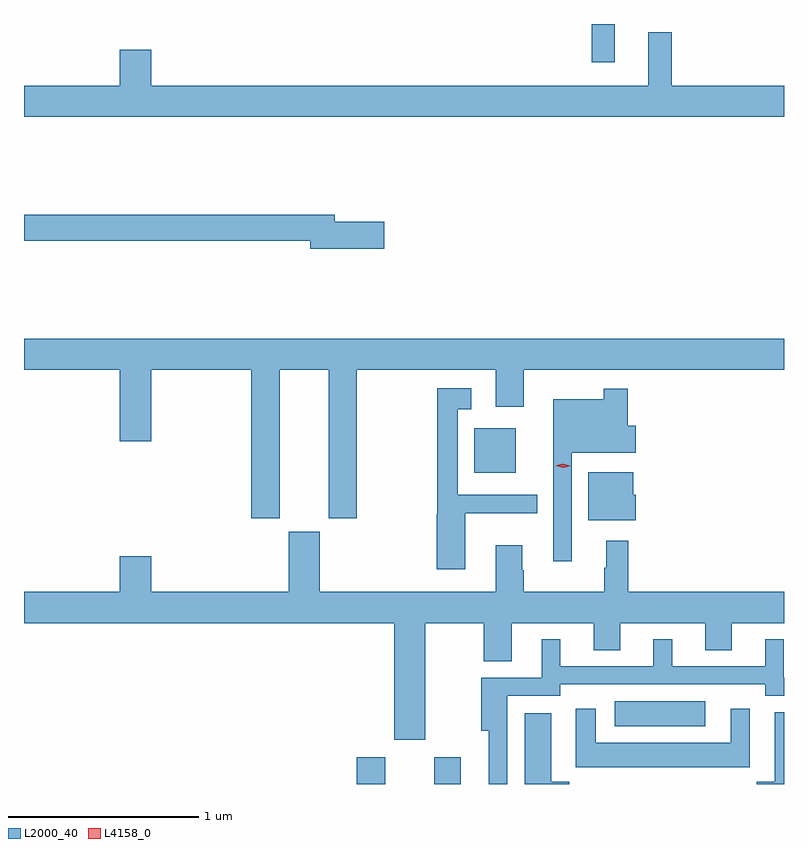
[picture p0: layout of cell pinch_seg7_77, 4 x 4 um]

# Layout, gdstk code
import gdstk
lib = gdstk.Library(unit=1e-6, precision=1e-09)
def R(c, l, rs):  # rectangles x0, y0, x1, y1
    for r in rs: c.add(gdstk.rectangle(r[:2], r[2:], *l))
def P(c, l, *ps):  # polygons
    for p in ps: c.add(gdstk.Polygon(p, *l))
L2000_40 = (2000, 40)
L4158_0 = (4158, 0)

pinch_seg7_77 = lib.new_cell('pinch_seg7_77')
R(pinch_seg7_77, L2000_40, [(921.497,1069.033,921.649,1069.174), (921.905,1069.033,922.045,1069.174), (922.857,1069.337,923.332,1069.468), (922.118,1070.672,922.336,1070.905), (922.734,1072.833,922.855,1073.033)])
P(pinch_seg7_77, L2000_40, [(923.033,1072.99),(923.033,1072.708),(920.416,1072.708),(920.416,1072.897),(920.252,1072.897),(920.252,1072.708),(919.747,1072.708),(919.747,1072.544),(923.747,1072.544),(923.747,1072.708),(923.155,1072.708),(923.155,1072.99)],
  [(921.643,1071.992),(921.382,1071.992),(921.382,1072.028),(919.747,1072.028),(919.747,1071.892),(921.254,1071.892),(921.254,1071.85),(921.643,1071.85)],
  [(921.094,1071.212),(921.35,1071.212),(921.35,1070.433),(921.498,1070.433),(921.498,1071.212),(922.229,1071.212),(922.229,1071.018),(922.378,1071.018),(922.378,1071.212),(923.747,1071.212),(923.747,1071.376),(919.747,1071.376),(919.747,1071.212),(920.252,1071.212),(920.252,1070.838),(920.416,1070.838),(920.416,1071.212),(920.942,1071.212),(920.942,1070.433),(921.094,1070.433)],
  [(922.069,1070.459),(922.448,1070.459),(922.448,1070.556),(922.029,1070.556),(922.029,1071.005),(922.102,1071.005),(922.102,1071.115),(921.921,1071.115),(921.921,1070.453),(921.92,1070.453),(921.92,1070.163),(922.069,1070.163)],
  [(922.629,1070.777),(922.966,1070.777),(922.966,1070.919),(922.925,1070.919),(922.925,1071.112),(922.797,1071.112),(922.797,1071.058),(922.532,1071.058),(922.532,1070.681),(922.533,1070.681),(922.533,1070.205),(922.629,1070.205)],
  [(922.966,1070.556),(922.954,1070.556),(922.954,1070.674),(922.718,1070.674),(922.718,1070.42),(922.966,1070.42)],
  [(921.14,1070.361),(921.14,1070.044),(920.416,1070.044),(920.416,1070.233),(920.252,1070.233),(920.252,1070.044),(919.747,1070.044),(919.747,1069.88),(921.695,1069.88),(921.695,1069.266),(921.859,1069.266),(921.859,1069.88),(922.168,1069.88),(922.168,1069.678),(922.315,1069.678),(922.315,1069.88),(922.745,1069.88),(922.745,1069.738),(922.885,1069.738),(922.885,1069.88),(923.333,1069.88),(923.333,1069.738),(923.473,1069.738),(923.473,1069.88),(923.747,1069.88),(923.747,1070.044),(922.928,1070.044),(922.928,1070.314),(922.811,1070.314),(922.811,1070.171),(922.8,1070.171),(922.8,1070.044),(922.377,1070.044),(922.377,1070.159),(922.369,1070.159),(922.369,1070.29),(922.229,1070.29),(922.229,1070.044),(921.304,1070.044),(921.304,1070.361)],
  [(922.29,1069.497),(922.569,1069.497),(922.569,1069.557),(923.649,1069.557),(923.649,1069.497),(923.747,1069.497),(923.747,1069.593),(923.746,1069.593),(923.746,1069.795),(923.648,1069.795),(923.648,1069.653),(923.158,1069.653),(923.158,1069.795),(923.06,1069.795),(923.06,1069.653),(922.57,1069.653),(922.57,1069.795),(922.472,1069.795),(922.472,1069.593),(922.153,1069.593),(922.153,1069.313),(922.193,1069.313),(922.193,1069.033),(922.29,1069.033)],
  [(923.566,1069.429),(923.468,1069.429),(923.468,1069.249),(922.756,1069.249),(922.756,1069.429),(922.652,1069.429),(922.652,1069.121),(923.566,1069.121)],
  [(923.747,1069.411),(923.699,1069.411),(923.699,1069.045),(923.603,1069.045),(923.603,1069.033),(923.747,1069.033)],
  [(922.618,1069.045),(922.522,1069.045),(922.522,1069.405),(922.382,1069.405),(922.382,1069.033),(922.618,1069.033)])
P(pinch_seg7_77, L4158_0, [(922.583,1070.698),(922.548,1070.709),(922.548,1070.71),(922.548,1070.71),(922.584,1070.718),(922.619,1070.707),(922.619,1070.707),(922.619,1070.706)])

lib.write_gds('pinch_seg7_77.gds')
